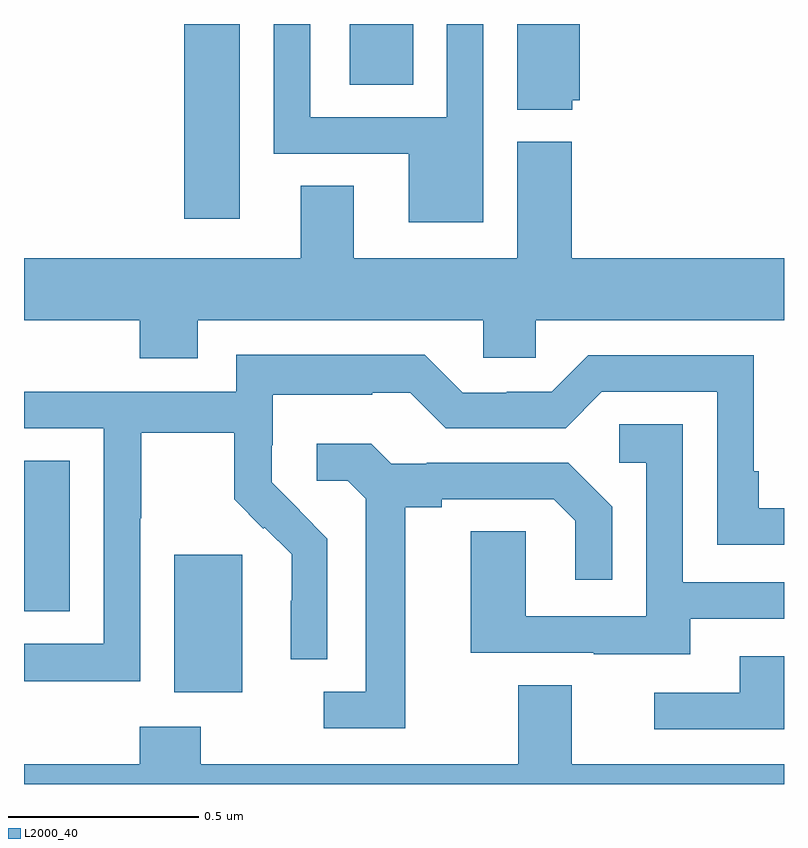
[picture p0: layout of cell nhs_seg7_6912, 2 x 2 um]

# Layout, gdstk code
import gdstk
lib = gdstk.Library(unit=1e-6, precision=1e-09)
def R(c, l, rs):  # rectangles x0, y0, x1, y1
    for r in rs: c.add(gdstk.rectangle(r[:2], r[2:], *l))
def P(c, l, *ps):  # polygons
    for p in ps: c.add(gdstk.Polygon(p, *l))
L2000_40 = (2000, 40)

nhs_seg7_6912 = lib.new_cell('nhs_seg7_6912')
R(nhs_seg7_6912, L2000_40, [(204.395,1062.242,204.574,1062.603), (204,1062.454,204.121,1062.851), (204.422,1063.488,204.568,1064), (204.857,1063.84,205.024,1064)])
P(nhs_seg7_6912, L2000_40, [(205.209,1064),(205.113,1064),(205.113,1063.755),(204.753,1063.755),(204.753,1064),(204.657,1064),(204.657,1063.659),(205.013,1063.659),(205.013,1063.478),(205.209,1063.478)],
  [(205.443,1063.8),(205.462,1063.8),(205.462,1064),(205.298,1064),(205.298,1063.775),(205.443,1063.775)],
  [(204.457,1063.22),(205.209,1063.22),(205.209,1063.122),(205.347,1063.122),(205.347,1063.22),(206,1063.22),(206,1063.384),(205.442,1063.384),(205.442,1063.69),(205.298,1063.69),(205.298,1063.384),(204.868,1063.384),(204.868,1063.574),(204.728,1063.574),(204.728,1063.384),(204,1063.384),(204,1063.22),(204.305,1063.22),(204.305,1063.121),(204.457,1063.121)],
  [(204.306,1062.7),(204.309,1062.7),(204.309,1062.924),(204.553,1062.924),(204.553,1062.749),(204.63,1062.672),(204.633,1062.675),(204.704,1062.605),(204.704,1062.482),(204.702,1062.482),(204.702,1062.328),(204.798,1062.328),(204.798,1062.646),(204.725,1062.719),(204.726,1062.72),(204.652,1062.794),(204.652,1062.891),(204.654,1062.891),(204.654,1063.025),(204.917,1063.025),(204.917,1063.029),(205.017,1063.029),(205.11,1062.936),(205.425,1062.936),(205.521,1063.032),(205.824,1063.032),(205.824,1062.63),(206,1062.63),(206,1062.726),(205.933,1062.726),(205.933,1062.823),(205.92,1062.823),(205.92,1063.128),(205.485,1063.128),(205.389,1063.032),(205.271,1063.032),(205.271,1063.029),(205.155,1063.029),(205.055,1063.129),(204.558,1063.129),(204.558,1063.032),(204,1063.032),(204,1062.936),(204.21,1062.936),(204.21,1062.369),(204,1062.369),(204,1062.271),(204.306,1062.271)],
  [(205.753,1062.435),(206,1062.435),(206,1062.531),(205.734,1062.531),(205.734,1062.947),(205.566,1062.947),(205.566,1062.846),(205.638,1062.846),(205.638,1062.441),(205.32,1062.441),(205.32,1062.665),(205.175,1062.665),(205.175,1062.345),(205.499,1062.345),(205.499,1062.341),(205.753,1062.341)],
  [(205.003,1062.728),(205.099,1062.728),(205.099,1062.75),(205.394,1062.75),(205.451,1062.693),(205.451,1062.537),(205.548,1062.537),(205.548,1062.73),(205.432,1062.846),(205.06,1062.846),(205.06,1062.843),(204.966,1062.843),(204.914,1062.895),(204.771,1062.895),(204.771,1062.798),(204.852,1062.798),(204.899,1062.751),(204.899,1062.243),(204.789,1062.243),(204.789,1062.147),(205.003,1062.147)],
  [(206,1062.336),(205.883,1062.336),(205.883,1062.24),(205.659,1062.24),(205.659,1062.144),(206,1062.144)],
  [(206,1062.052),(205.441,1062.052),(205.441,1062.26),(205.301,1062.26),(205.301,1062.052),(204.465,1062.052),(204.465,1062.151),(204.305,1062.151),(204.305,1062.052),(204,1062.052),(204,1062),(206,1062)])

lib.write_gds('nhs_seg7_6912.gds')
